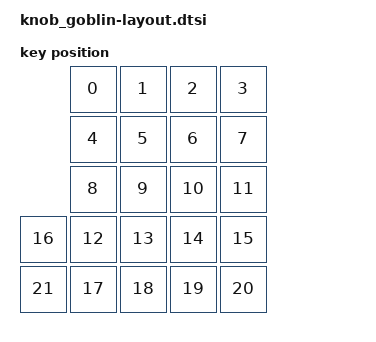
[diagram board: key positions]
#include <physical_layouts.dtsi>

/ {
    physical_layout0: physical_layout_0 {
        compatible = "zmk,physical-layout";
        display-name = "Bill's ZMK KnobGoblin";
        kscan = <&kscan0>;
        transform = <&matrix_transform0>;

        keys  //                     w   h    x    y     rot    rx    ry
            = <&key_physical_attrs 100 100  100    0       0     0     0>
            , <&key_physical_attrs 100 100  200    0       0     0     0>
            , <&key_physical_attrs 100 100  300    0       0     0     0>
            , <&key_physical_attrs 100 100  400    0       0     0     0>
            , <&key_physical_attrs 100 100  100  100       0     0     0>
            , <&key_physical_attrs 100 100  200  100       0     0     0>
            , <&key_physical_attrs 100 100  300  100       0     0     0>
            , <&key_physical_attrs 100 100  400  100       0     0     0>
            , <&key_physical_attrs 100 100  100  200       0     0     0>
            , <&key_physical_attrs 100 100  200  200       0     0     0>
            , <&key_physical_attrs 100 100  300  200       0     0     0>
            , <&key_physical_attrs 100 100  400  200       0     0     0>
            , <&key_physical_attrs 100 100  100  300       0     0     0>
            , <&key_physical_attrs 100 100  200  300       0     0     0>
            , <&key_physical_attrs 100 100  300  300       0     0     0>
            , <&key_physical_attrs 100 100  400  300       0     0     0>
            , <&key_physical_attrs 100 100    0  300       0     0     0>
            , <&key_physical_attrs 100 100  100  400       0     0     0>
            , <&key_physical_attrs 100 100  200  400       0     0     0>
            , <&key_physical_attrs 100 100  300  400       0     0     0>
            , <&key_physical_attrs 100 100  400  400       0     0     0>
            , <&key_physical_attrs 100 100    0  400       0     0     0>
            ;
    };

    position_map {
        compatible = "zmk,physical-layout-position-map";

        physical_layout0 {
            physical-layout = <&physical_layout0>;
            positions = <>;
        };
    };
};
